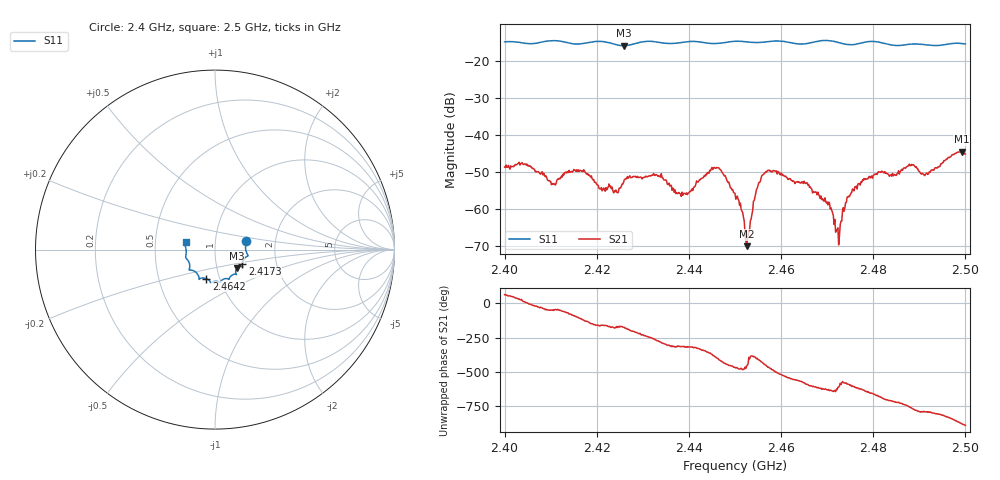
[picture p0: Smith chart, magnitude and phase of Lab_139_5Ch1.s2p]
# Hz S RI R 50
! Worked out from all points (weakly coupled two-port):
!   601 points, 2.4 GHz to 2.5 GHz, reference 50 ohm
!   highest |S21| = -44.56 dB at 2.4992 GHz (marker M1); lowest = -70.2 dB at 2.4525 GHz (marker M2)
!   lowest |S11| = -15.9 dB at 2.4258 GHz (marker M3), VSWR 1.38, Z = 62.4 - j13.2 ohm
!   |S11| at or under -10 dB: start of sweep to end of sweep
!   S12 and S22 are empty: the file has one direction only
!   S11 on the Smith chart (normalised r, x): 2.4 GHz: 1.41, +0.14; 2.4173 GHz: 1.34, -0.23; 2.4642 GHz: 0.86, -0.29; 2.5 GHz: 0.72, +0.06
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2.4e9  0.1733 0.0495  0.00159 0.00328  0 0  0 0
2.405e9  0.1704 0.0148  0.00379 0.000146  0 0  0 0
2.410667e9  0.1841 -0.0343  0.00138 -0.0017  0 0  0 0
2.416667e9  0.1531 -0.0741  -0.00118 -0.00299  0 0  0 0
2.417333e9  0.1522 -0.0817  -0.00193 -0.0026  0 0  0 0
2.421333e9  0.1545 -0.0965  -0.00169 -0.000655  0 0  0 0
2.425833e9  0.1223 -0.1031  -0.00227 -0.000214  0 0  0 0
2.433333e9  0.1136 -0.1373  0.000132 0.00272  0 0  0 0
2.439167e9  0.08 -0.1607  0.0012 0.00107  0 0  0 0
2.446e9  0.0474 -0.1646  0.0029 -0.00215  0 0  0 0
2.45e9  0.0286 -0.1814  -0.000401 -0.00155  0 0  0 0
2.4525e9  0.0202 -0.1793  -3.46e-05 -0.000309  0 0  0 0
2.456333e9  -0.009 -0.1789  0.000409 -0.00293  0 0  0 0
2.464167e9  -0.0481 -0.1614  -0.00199 0.000978  0 0  0 0
2.466667e9  -0.0764 -0.1591  -0.000856 0.00162  0 0  0 0
2.4705e9  -0.0882 -0.1649  0.000107 0.00119  0 0  0 0
2.472333e9  -0.0893 -0.1536  -0.000182 0.000519  0 0  0 0
2.475833e9  -0.115 -0.1198  -0.000751 0.00157  0 0  0 0
2.483333e9  -0.1406 -0.0897  0.00281 0.000628  0 0  0 0
2.4915e9  -0.1616 -0.0297  0.00104 -0.0028  0 0  0 0
2.499167e9  -0.1673 0.0379  -0.00541 -0.00239  0 0  0 0
2.5e9  -0.1633 0.0425  -0.00538 -0.00106  0 0  0 0
